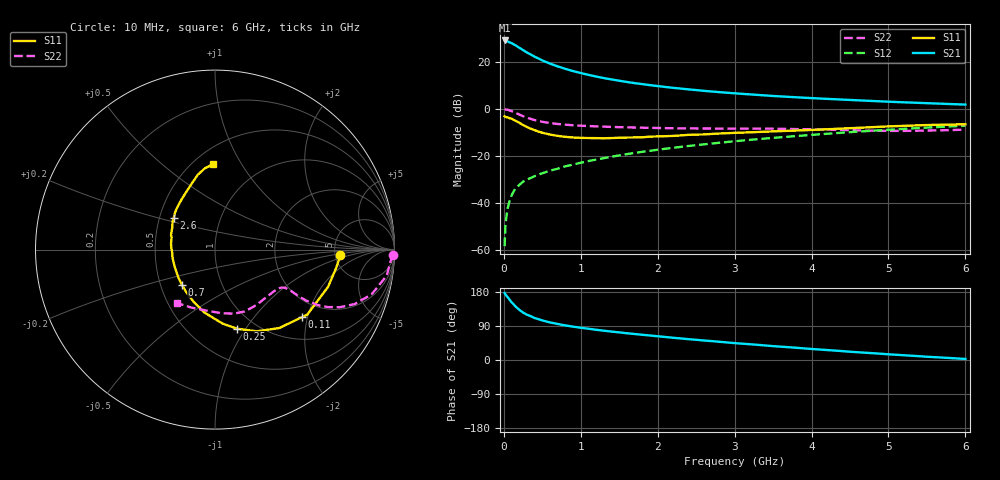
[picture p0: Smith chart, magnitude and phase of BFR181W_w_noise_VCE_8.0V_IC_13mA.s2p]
! Infineon Technologies  Discrete & RF Semiconductors
! BFR181W
! VCE =  8.0 V,  IC =  13 mA
! Common Emitter S-Parameters:  Jan 2017
# GHz  S  MA  R  50
!  f  S11  S21  S12  S22
! GHz  MAG  ANG  MAG  ANG  MAG  ANG  MAG  ANG
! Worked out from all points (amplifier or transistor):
!   77 points, 10 MHz to 6 GHz, reference 50 ohm
!   highest |S21| = 29.2 dB at 10 MHz (marker M1)
!   |S21| within 3 dB of that: start of sweep to 195.9 MHz
!   unconditionally stable (mu >= 1): 949.7 MHz to 2.769 GHz
!   at 130 MHz: K = 0.31, MSG = 31.2 dB, |S12| = -34.9 dB
!   at 2.2 GHz: K = 1.04, MAG = 11.6 dB, |S12| = -16.5 dB
!   at 6 GHz: K = 0.84, MSG = 4.5 dB, |S12| = -7.1 dB
!   lowest NFmin = 1.39 dB at 450 MHz
!   S11 on the Smith chart (normalised r, x): 10 MHz: 5.57, -0.69; 110 MHz: 1.52, -1.84; 250 MHz: 0.82, -0.92; 700 MHz: 0.64, -0.27; 2.6 GHz: 0.59, +0.23; 6 GHz: 0.62, +0.76
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0.01  0.6995 -2.6  28.98 176.8  0.0012 94.8  0.9906 -1.6
0.02  0.683 -8.5  28.38 173.3  0.0031 94.6  0.9828 -3.2
0.05  0.6635 -18.1  27.62 165.5  0.0077 78.8  0.9678 -8.6
0.1  0.6287 -35.2  25.51 152.4  0.0144 76.6  0.9075 -15.9
0.11  0.6126 -38.0  24.93 150.4  0.0155 75.0  0.8925 -16.9
0.15  0.5649 -50.7  22.95 141.6  0.0202 70.4  0.8355 -21.3
0.2  0.5114 -62.9  20.32 132.5  0.0241 68.5  0.7656 -24.8
0.25  0.458 -74.3  18.08 125.2  0.0284 64.2  0.7056 -27.0
0.3  0.4152 -84.0  16.07 119.5  0.0313 63.6  0.6549 -28.3
0.4  0.3554 -99.6  13.07 110.7  0.0372 63.3  0.583 -29.2
0.5  0.313 -112.7  10.88 104.4  0.0429 64.3  0.5355 -29.2
0.6  0.2867 -123.7  9.318 99.2  0.0488 65.1  0.504 -28.8
0.7  0.2686 -133.6  8.111 95.0  0.0536 66.5  0.4813 -28.5
0.9  0.248 -150.4  6.444 88.0  0.0657 67.4  0.4523 -28.5
1.1  0.2415 -163.5  5.362 82.5  0.0781 68.3  0.4349 -29.1
1.5  0.245 176.1  4.014 72.9  0.103 69.0  0.4125 -32.2
2.1  0.2647 155.1  2.961 60.7  0.1429 67.9  0.3931 -40.3
2.6  0.2886 142.9  2.448 51.5  0.1772 65.8  0.3859 -49.0
3.1  0.3154 131.7  2.111 43.1  0.2136 63.0  0.3827 -57.8
4.1  0.3653 114.8  1.682 27.7  0.2898 56.3  0.368 -75.6
5.1  0.4333 101.7  1.415 13.8  0.3704 47.8  0.3426 -100.8
6  0.475 91.3  1.246 2.8  0.4437 39.0  0.3653 -125.6
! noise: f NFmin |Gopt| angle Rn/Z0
0.45  1.39  0.08  17  0.21
0.9  1.43  0.08  31  0.21
1.9  1.86  0.09  -144  0.21
2.4  2.07  0.11  -109  0.26
